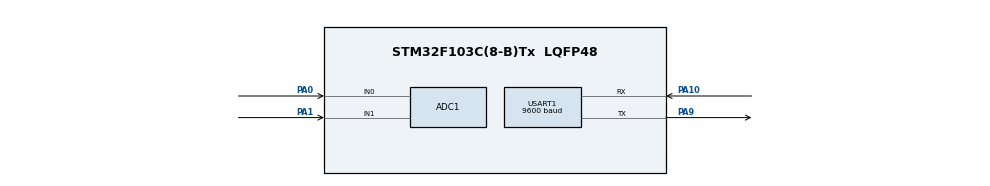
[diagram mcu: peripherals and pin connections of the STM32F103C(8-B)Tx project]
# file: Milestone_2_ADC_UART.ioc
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ADC1.Channel-0\#ChannelRegularConversion=ADC_CHANNEL_0
ADC1.NbrOfConversionFlag=1
ADC1.Rank-0\#ChannelRegularConversion=1
ADC1.SamplingTime-0\#ChannelRegularConversion=ADC_SAMPLETIME_1CYCLE_5
ADC1.master=1
Mcu.Family=STM32F1
Mcu.Name=STM32F103C(8-B)Tx
Mcu.Package=LQFP48
NVIC.PriorityGroup=NVIC_PRIORITYGROUP_4
PA0-WKUP.Signal=ADCx_IN0
PA1.Signal=ADCx_IN1
PA10.Mode=Asynchronous
PA10.Signal=USART1_RX
PA9.Mode=Asynchronous
PA9.Signal=USART1_TX
ProjectManager.HeapSize=0x200
ProjectManager.StackSize=0x400
ProjectManager.TargetToolchain=STM32CubeIDE
RCC.APB1Freq_Value=8000000
RCC.APB2Freq_Value=8000000
SH.ADCx_IN0.0=ADC1_IN0,IN0
SH.ADCx_IN1.0=ADC1_IN1,IN1
USART1.BaudRate=9600
USART1.VirtualMode=VM_ASYNC
VP_SYS_VS_ND.Mode=No_Debug
board=custom

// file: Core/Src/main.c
/* USER CODE BEGIN Header */
/**
  ******************************************************************************
  * @file           : main.c
  * @brief          : Main program body
  ******************************************************************************
  * @attention
  *
  * Copyright (c) 2026 STMicroelectronics.
  * All rights reserved.
  *
  * This software is licensed under terms that can be found in the LICENSE file
  * in the root directory of this software component.
  * If no LICENSE file comes with this software, it is provided AS-IS.
  *
  ******************************************************************************
  */
/* USER CODE END Header */
#include "main.h"

/* USER CODE BEGIN Includes */
#include <stdio.h>
/* USER CODE END Includes */

ADC_HandleTypeDef hadc1;

UART_HandleTypeDef huart1;

void SystemClock_Config(void);
static void MX_GPIO_Init(void);
static void MX_ADC1_Init(void);
static void MX_USART1_UART_Init(void);

/* USER CODE BEGIN 0 */

uint32_t Read_ADC_Channel(uint32_t channel)
{
    ADC_ChannelConfTypeDef sConfig = {0};
    sConfig.Channel = channel;
    sConfig.Rank = ADC_REGULAR_RANK_1;
    sConfig.SamplingTime = ADC_SAMPLETIME_55CYCLES_5;

    HAL_ADC_ConfigChannel(&hadc1, &sConfig);
    HAL_ADC_Start(&hadc1);
    HAL_ADC_PollForConversion(&hadc1, 100);
    uint32_t raw_val = HAL_ADC_GetValue(&hadc1);
    HAL_ADC_Stop(&hadc1);

    return raw_val;
}

/* USER CODE END 0 */

int main(void)
{

  /* MCU Configuration--------------------------------------------------------*/

  /* Reset of all peripherals, Initializes the Flash interface and the Systick. */
  HAL_Init();

  /* Configure the system clock */
  SystemClock_Config();

  /* Initialize all configured peripherals */
  MX_GPIO_Init();
  MX_ADC1_Init();
  MX_USART1_UART_Init();

  /* Infinite loop */
  /* USER CODE BEGIN WHILE */
  /* USER CODE BEGIN WHILE */
    while (1)
    {
        // 1. Read raw ADC values (0 to 4095)
        uint32_t raw_temp = Read_ADC_Channel(ADC_CHANNEL_0);     // PA0
        uint32_t raw_throttle = Read_ADC_Channel(ADC_CHANNEL_1); // PA1

        // 2. Scale values: Temp (0..150 °C), Throttle (0..100 %)
        uint32_t temp_c = (raw_temp * 150) / 4095;
        uint32_t throttle_pct = (raw_throttle * 100) / 4095;

        // 3. Format telemetry string
        char tx_buffer[64];
        int len = sprintf(tx_buffer, "Engine Temp = %lu | Throttle = %lu%%\r\n", temp_c, throttle_pct);

        // 4. Send over USART1 at 9600 baud
        HAL_UART_Transmit(&huart1, (uint8_t*)tx_buffer, len, 100);

        HAL_Delay(500);
      /* USER CODE END WHILE */

    }
}

void SystemClock_Config(void)
{
  RCC_OscInitTypeDef RCC_OscInitStruct = {0};
  RCC_ClkInitTypeDef RCC_ClkInitStruct = {0};
  RCC_PeriphCLKInitTypeDef PeriphClkInit = {0};

  /** Initializes the RCC Oscillators according to the specified parameters
  * in the RCC_OscInitTypeDef structure.
  */
  RCC_OscInitStruct.OscillatorType = RCC_OSCILLATORTYPE_HSI;
  RCC_OscInitStruct.HSIState = RCC_HSI_ON;
  RCC_OscInitStruct.HSICalibrationValue = RCC_HSICALIBRATION_DEFAULT;
  RCC_OscInitStruct.PLL.PLLState = RCC_PLL_NONE;
  if (HAL_RCC_OscConfig(&RCC_OscInitStruct) != HAL_OK)
  {
    Error_Handler();
  }

  /** Initializes the CPU, AHB and APB buses clocks
  */
  RCC_ClkInitStruct.ClockType = RCC_CLOCKTYPE_HCLK|RCC_CLOCKTYPE_SYSCLK
                              |RCC_CLOCKTYPE_PCLK1|RCC_CLOCKTYPE_PCLK2;
  RCC_ClkInitStruct.SYSCLKSource = RCC_SYSCLKSOURCE_HSI;
  RCC_ClkInitStruct.AHBCLKDivider = RCC_SYSCLK_DIV1;
  RCC_ClkInitStruct.APB1CLKDivider = RCC_HCLK_DIV1;
  RCC_ClkInitStruct.APB2CLKDivider = RCC_HCLK_DIV1;

  if (HAL_RCC_ClockConfig(&RCC_ClkInitStruct, FLASH_LATENCY_0) != HAL_OK)
  {
    Error_Handler();
  }
  PeriphClkInit.PeriphClockSelection = RCC_PERIPHCLK_ADC;
  PeriphClkInit.AdcClockSelection = RCC_ADCPCLK2_DIV2;
  if (HAL_RCCEx_PeriphCLKConfig(&PeriphClkInit) != HAL_OK)
  {
    Error_Handler();
  }
}

static void MX_ADC1_Init(void)
{

  ADC_ChannelConfTypeDef sConfig = {0};

  /** Common config
  */
  hadc1.Instance = ADC1;
  hadc1.Init.ScanConvMode = ADC_SCAN_DISABLE;
  hadc1.Init.ContinuousConvMode = DISABLE;
  hadc1.Init.DiscontinuousConvMode = DISABLE;
  hadc1.Init.ExternalTrigConv = ADC_SOFTWARE_START;
  hadc1.Init.DataAlign = ADC_DATAALIGN_RIGHT;
  hadc1.Init.NbrOfConversion = 1;
  if (HAL_ADC_Init(&hadc1) != HAL_OK)
  {
    Error_Handler();
  }

  /** Configure Regular Channel
  */
  sConfig.Channel = ADC_CHANNEL_0;
  sConfig.Rank = ADC_REGULAR_RANK_1;
  sConfig.SamplingTime = ADC_SAMPLETIME_1CYCLE_5;
  if (HAL_ADC_ConfigChannel(&hadc1, &sConfig) != HAL_OK)
  {
    Error_Handler();
  }

}

static void MX_USART1_UART_Init(void)
{

  huart1.Instance = USART1;
  huart1.Init.BaudRate = 9600;
  huart1.Init.WordLength = UART_WORDLENGTH_8B;
  huart1.Init.StopBits = UART_STOPBITS_1;
  huart1.Init.Parity = UART_PARITY_NONE;
  huart1.Init.Mode = UART_MODE_TX_RX;
  huart1.Init.HwFlowCtl = UART_HWCONTROL_NONE;
  huart1.Init.OverSampling = UART_OVERSAMPLING_16;
  if (HAL_UART_Init(&huart1) != HAL_OK)
  {
    Error_Handler();
  }

}

static void MX_GPIO_Init(void)
{

  /* GPIO Ports Clock Enable */
  __HAL_RCC_GPIOA_CLK_ENABLE();

}

void Error_Handler(void)
{
  __disable_irq();
  while (1)
  {
  }
}
